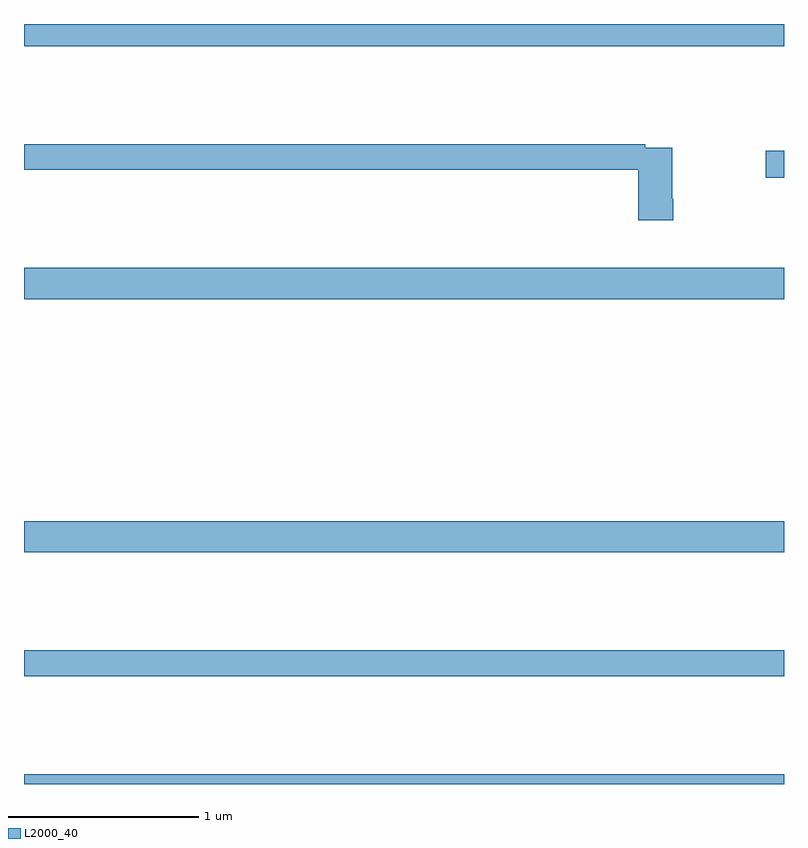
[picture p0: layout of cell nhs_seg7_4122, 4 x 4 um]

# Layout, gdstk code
import gdstk
lib = gdstk.Library(unit=1e-6, precision=1e-09)
def R(c, l, rs):  # rectangles x0, y0, x1, y1
    for r in rs: c.add(gdstk.rectangle(r[:2], r[2:], *l))
def P(c, l, *ps):  # polygons
    for p in ps: c.add(gdstk.Polygon(p, *l))
L2000_40 = (2000, 40)

nhs_seg7_4122 = lib.new_cell('nhs_seg7_4122')
R(nhs_seg7_4122, L2000_40, [(371,1062,375,1062.052), (371,1062.568,375,1062.704), (371,1063.22,375,1063.384), (371,1064.552,375,1064.716), (374.904,1065.19,375,1065.332), (371,1065.884,375,1066)])
P(nhs_seg7_4122, L2000_40, [(374.417,1065.079),(374.412,1065.079),(374.412,1065.348),(374.27,1065.348),(374.27,1065.368),(371,1065.368),(371,1065.232),(374.234,1065.232),(374.234,1064.967),(374.417,1064.967)])

lib.write_gds('nhs_seg7_4122.gds')
